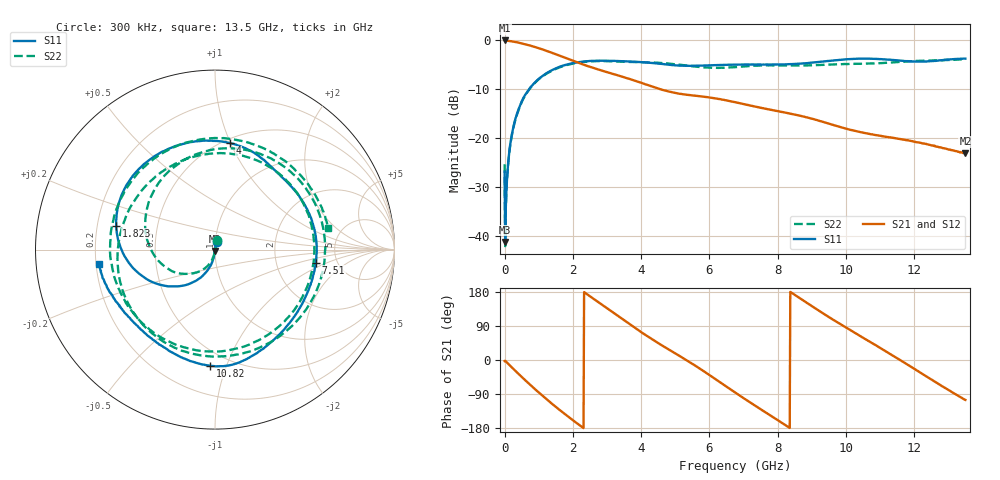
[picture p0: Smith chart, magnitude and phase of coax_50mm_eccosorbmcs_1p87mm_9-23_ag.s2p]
!Agilent Technologies,N5230C,MY48100320,A.08.04.10
!Agilent N5230C: A.08.04.10
!Date: Friday, September 23, 2016 16:42:18
!Correction: S11(Full 2 Port(1,2))
!S21(Full 2 Port(1,2))
!S12(Full 2 Port(1,2))
!S22(Full 2 Port(1,2))
!S2P File: Measurements: S11, S21, S12, S22:
# Hz S  dB  R 50
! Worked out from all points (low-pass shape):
!   801 points, 300 kHz to 13.5 GHz, reference 50 ohm
!   highest |S21| = -0.01 dB at 17.17 MHz (marker M1); lowest = -23.1 dB at 13.5 GHz (marker M2)
!   |S21| within 3 dB of the highest: start of sweep to 1.569 GHz
!   lowest |S11| = -41.3 dB at 17.17 MHz (marker M3), VSWR 1.02, Z = 49.7 - j0.825 ohm
!   |S11| at or under -10 dB: start of sweep to 718.3 MHz
!   |S22| runs from -42.1 to -3.9 dB; largest |S21 - S12| = 0.0014
!   S11 on the Smith chart (normalised r, x): 300 kHz: 1.01, +0.09; 1.823 GHz: 0.28, +0.11; 4 GHz: 0.54, +1.00; 7.51 GHz: 3.44, -0.75; 10.82 GHz: 0.40, -0.88; 13.5 GHz: 0.21, -0.06
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300000  -26.85 78.8  -0.07 -2.8  -0.07 -2.8  -25.36 77.3
1.717462e7  -41.26 -106.6  -0.01 -1.8  -0.01 -1.8  -42.13 -101.6
8.467312e7  -26.90 -99.1  -0.07 -8.1  -0.08 -8.0  -27.01 -103.5
1.690462e8  -21.09 -104.6  -0.15 -15.7  -0.15 -15.7  -21.29 -111.7
3.209179e8  -15.96 -114.9  -0.33 -29.1  -0.33 -29.1  -16.11 -127.1
8.440312e8  -8.95 -146.4  -1.25 -73.2  -1.25 -73.1  -9.02 -179.1
1.282772e9  -6.48 -168.7  -2.27 -107.5  -2.28 -107.5  -6.60 138.2
1.82276e9  -4.94 166.3  -3.69 -146.8  -3.69 -146.8  -5.04 89.7
2.2615e9  -4.36 147.3  -4.84 -176.4  -4.83 -176.3  -4.45 54.5
3.105231e9  -4.18 113.4  -6.71 129.7  -6.72 129.7  -4.27 -9.2
3.999586e9  -4.45 81.9  -8.68 73.6  -8.67 73.6  -4.48 -78.8
4.505825e9  -4.74 66.8  -9.86 44.2  -9.85 44.2  -4.59 -114.9
5.602676e9  -5.19 41.5  -11.34 -15.9  -11.34 -16.0  -5.37 176.6
6.75015e9  -4.97 11.9  -12.64 -85.6  -12.67 -85.6  -5.48 98.0
7.509508e9  -4.93 -7.5  -13.80 -130.3  -13.80 -130.3  -5.13 49.8
8.285741e9  -4.90 -29.0  -14.88 -175.4  -14.88 -175.3  -5.14 0.7
9.01135e9  -4.55 -51.8  -16.03 141.7  -16.05 141.7  -5.08 -49.2
9.871956e9  -3.94 -73.8  -17.81 92.7  -17.83 92.7  -4.87 -107.2
1.081693e10  -3.78 -92.3  -19.31 41.9  -19.31 41.9  -4.71 -169.4
1.125567e10  -3.93 -102.5  -19.83 18.2  -19.84 18.1  -4.55 161.1
1.238627e10  -4.30 -141.7  -21.26 -44.8  -21.29 -44.9  -4.13 86.8
1.35e10  -3.73 -173.0  -23.13 -105.3  -23.14 -105.6  -3.85 10.9
